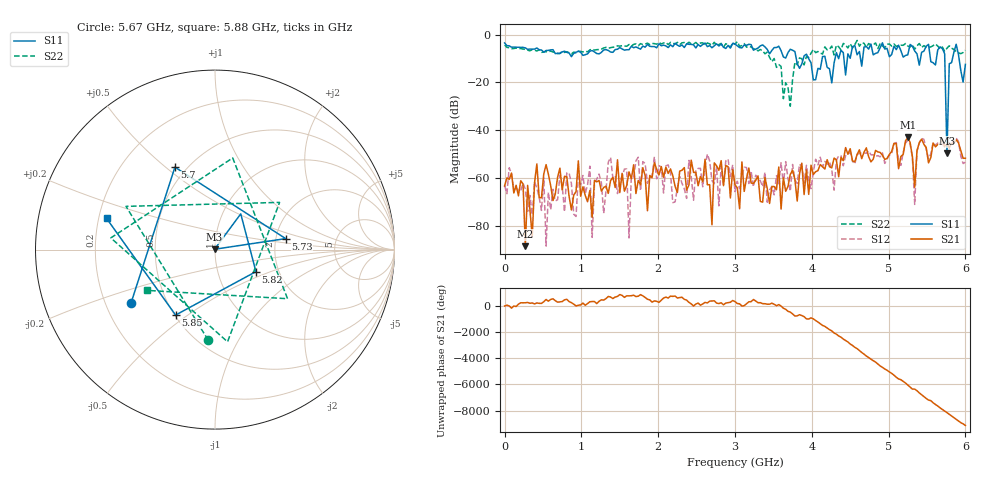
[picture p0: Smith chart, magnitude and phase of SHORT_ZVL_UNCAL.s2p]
#  HZ  S  DB  R  50.0
! Rohde & Schwarz ZVL13 2Ports - Version 3.20 - 1303.6509k13 SN: 100953
! Date: 2024-10-09 07:55:46
! Data & Calibration Information:
! Trc1:S11(Cal Off) Trc4:S21(Cal Off) Trc2:S12(Cal Off) Trc3:S22(Cal Off)
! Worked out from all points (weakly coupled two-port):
!   201 points, 9 kHz to 6 GHz, reference 50 ohm
!   highest |S21| = -43.09 dB at 5.25 GHz (marker M1); lowest = -88.6 dB at 270 MHz (marker M2)
!   lowest |S11| = -49.6 dB at 5.76 GHz (marker M3), VSWR 1.01, Z = 49.7 + j0.189 ohm
!   |S11| at or under -10 dB: 3.797 GHz to 3.89 GHz (92.73 MHz wide, 2.41 % of centre); 3.958 GHz to 4.135 GHz (177.5 MHz wide, 4.39 % of centre); 4.176 GHz to 4.303 GHz (126.8 MHz wide, 2.99 % of centre) (the widest 3 of 10)
!   |S22| runs from -30.0 to -2.4 dB; largest |S21 - S12| = 0.0045
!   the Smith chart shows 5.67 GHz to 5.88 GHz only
!   S11 on the Smith chart (normalised r, x): 5.67 GHz: 0.31, -0.27; 5.7 GHz: 0.43, +0.54; 5.73 GHz: 2.27, +0.33; 5.82 GHz: 1.53, -0.40; 5.85 GHz: 0.51, -0.45; 5.88 GHz: 0.23, +0.13
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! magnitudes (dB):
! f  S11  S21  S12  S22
! 9 kHz  -3.5  -63.4  -63.3  -4.3
! 270 MHz  -5.6  -88.6  -64.7  -6.2
! 420 MHz  -5.6  -54.2  -64.3  -6.8
! 1.02 GHz  -8.7  -63.8  -59.0  -7.2
! 1.14 GHz  -6.7  -76.5  -85.0  -6.1
! 1.59 GHz  -6.3  -63.2  -56.3  -4.9
! 1.62 GHz  -6.3  -57.5  -85.2  -4.1
! 2.01 GHz  -3.8  -58.8  -54.9  -3.2
! 3 GHz  -3.9  -62.9  -65.8  -4.0
! 3.72 GHz  -6.1  -58.5  -65.6  -30.0
! 4.02 GHz  -18.9  -58.6  -57.5  -6.2
! 5.01 GHz  -9.3  -50.2  -50.5  -3.9
! 5.25 GHz  -8.5  -43.1  -44.3  -4.8
! 5.34 GHz  -6.8  -63.9  -71.1  -6.1
! 5.67 GHz  -5.1  -45.6  -45.7  -5.9
! 5.7 GHz  -5.8  -43.9  -45.8  -5.2
! 5.73 GHz  -8.0  -46.8  -47.2  -7.0
! 5.76 GHz  -49.6  -45.7  -46.2  -5.7
! 5.82 GHz  -11.7  -45.6  -46.3  -5.7
! 5.85 GHz  -7.4  -45.5  -44.1  -6.2
! 5.88 GHz  -4.0  -44.0  -43.3  -7.1
! 6 GHz  -12.5  -51.8  -53.4  -6.5
